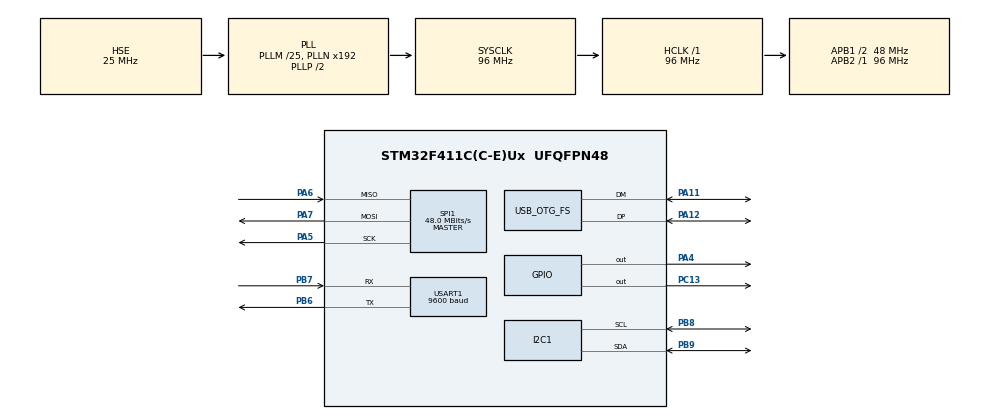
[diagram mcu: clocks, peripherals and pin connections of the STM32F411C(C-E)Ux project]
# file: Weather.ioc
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FATFS._MAX_SS=4096
FATFS._MIN_SS=4096
Mcu.Family=STM32F4
Mcu.Name=STM32F411C(C-E)Ux
Mcu.Package=UFQFPN48
NVIC.OTG_FS_IRQn=true\:0\:0\:false\:false\:true\:false\:true\:true
NVIC.PriorityGroup=NVIC_PRIORITYGROUP_4
PA11.Mode=Device_Only
PA11.Signal=USB_OTG_FS_DM
PA12.Mode=Device_Only
PA12.Signal=USB_OTG_FS_DP
PA4.Signal=GPIO_Output
PA5.Mode=Full_Duplex_Master
PA5.Signal=SPI1_SCK
PA6.Mode=Full_Duplex_Master
PA6.Signal=SPI1_MISO
PA7.Mode=Full_Duplex_Master
PA7.Signal=SPI1_MOSI
PB6.Mode=Asynchronous
PB6.Signal=USART1_TX
PB7.Mode=Asynchronous
PB7.Signal=USART1_RX
PB8.Mode=I2C
PB8.Signal=I2C1_SCL
PB9.Mode=I2C
PB9.Signal=I2C1_SDA
PC13-ANTI_TAMP.Signal=GPIO_Output
PC14-OSC32_IN.Mode=LSE-External-Oscillator
PC14-OSC32_IN.Signal=RCC_OSC32_IN
PC15-OSC32_OUT.Mode=LSE-External-Oscillator
PC15-OSC32_OUT.Signal=RCC_OSC32_OUT
PH0\ -\ OSC_IN.Mode=HSE-External-Oscillator
PH0\ -\ OSC_IN.Signal=RCC_OSC_IN
PH1\ -\ OSC_OUT.Mode=HSE-External-Oscillator
PH1\ -\ OSC_OUT.Signal=RCC_OSC_OUT
ProjectManager.HeapSize=0x2000
ProjectManager.StackSize=0x4000
ProjectManager.TargetToolchain=STM32CubeIDE
RCC.48MHZClocksFreq_Value=48000000
RCC.AHBFreq_Value=96000000
RCC.APB1CLKDivider=RCC_HCLK_DIV2
RCC.APB1Freq_Value=48000000
RCC.APB1TimFreq_Value=96000000
RCC.APB2Freq_Value=96000000
RCC.APB2TimFreq_Value=96000000
RCC.CortexFreq_Value=96000000
RCC.HCLKFreq_Value=96000000
RCC.HSE_VALUE=25000000
RCC.HSI_VALUE=16000000
RCC.PLLM=25
RCC.RCC_RTC_Clock_Source=RCC_RTCCLKSOURCE_LSE
RCC.RCC_RTC_Clock_SourceVirtual=RCC_RTCCLKSOURCE_LSE
RCC.SYSCLKFreq_VALUE=96000000
RCC.SYSCLKSource=RCC_SYSCLKSOURCE_PLLCLK
RCC.VCOOutputFreq_Value=192000000
SPI1.CalculateBaudRate=48.0 MBits/s
SPI1.Direction=SPI_DIRECTION_2LINES
SPI1.Mode=SPI_MODE_MASTER
SPI1.VirtualType=VM_MASTER
USART1.BaudRate=9600
USART1.VirtualMode=VM_ASYNC
USB_DEVICE.CLASS_NAME_FS=MSC
USB_DEVICE.MSC_MEDIA_PACKET=4096
USB_DEVICE.USBD_MAX_STR_DESC_SIZ=512
USB_DEVICE.VirtualMode=Msc
USB_DEVICE.VirtualModeFS=Msc_FS
USB_OTG_FS.VirtualMode=Device_Only
VP_FATFS_VS_Generic.Mode=User_defined
VP_RTC_VS_RTC_Activate.Mode=RTC_Enabled
VP_USB_DEVICE_VS_USB_DEVICE_MSC_FS.Mode=MSC_FS
board=custom

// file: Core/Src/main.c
/* USER CODE BEGIN Header */
/**
  ******************************************************************************
  * @file           : main.c
  * @brief          : Main program body
  ******************************************************************************
  * @attention
  *
  * Copyright (c) 2022 STMicroelectronics.
  * All rights reserved.
  *
  * This software is licensed under terms that can be found in the LICENSE file
  * in the root directory of this software component.
  * If no LICENSE file comes with this software, it is provided AS-IS.
  *
  ******************************************************************************
  */
/* USER CODE END Header */
#include "main.h"
#include "fatfs.h"
#include "usb_device.h"

/* USER CODE BEGIN Includes */
#include <stdbool.h>
#include "ssd1306.h"
/* USER CODE END Includes */

I2C_HandleTypeDef hi2c1;

RTC_HandleTypeDef hrtc;

SPI_HandleTypeDef hspi1;

UART_HandleTypeDef huart1;

/* USER CODE BEGIN PV */
bool isUSBMSC;
/* USER CODE END PV */

void SystemClock_Config(void);
static void MX_GPIO_Init(void);
static void MX_I2C1_Init(void);
static void MX_USART1_UART_Init(void);
static void MX_RTC_Init(void);
static void MX_SPI1_Init(void);
/* USER CODE BEGIN PFP */
void main_cpp(UART_HandleTypeDef *, I2C_HandleTypeDef *);
/* USER CODE END PFP */

int main(void)
{
  /* USER CODE BEGIN 1 */
    char time[30];
    char date[30];
    RTC_TimeTypeDef sTime;
    RTC_DateTypeDef sDate;
    isUSBMSC = false;
  /* USER CODE END 1 */

  /* MCU Configuration--------------------------------------------------------*/

  /* Reset of all peripherals, Initializes the Flash interface and the Systick. */
  HAL_Init();

  /* Configure the system clock */
  SystemClock_Config();

  /* Initialize all configured peripherals */
  MX_GPIO_Init();
  MX_I2C1_Init();
  MX_USART1_UART_Init();
  MX_FATFS_Init();
  MX_USB_DEVICE_Init();
  MX_RTC_Init();
  MX_SPI1_Init();
  /* USER CODE BEGIN 2 */
  uint32_t bytesread;
  char buffer[256];

  HAL_Delay(1000);
  if(!isUSBMSC){
	/*Initialize RTC*/
	while(f_mount(&USERFatFS, USERPath, 1) != FR_OK) {
		HAL_Delay(1000);
	}
	if(f_open(&USERFile, "SETTIME.TXT", FA_OPEN_EXISTING | FA_READ) == FR_OK) {
		retUSER = f_read(&USERFile, buffer, sizeof(buffer), (void *)&bytesread);
		buffer[bytesread]=0;
		//sscanf(buffer, "%02hhd-%02hhd-%02hhd %02hhd:%02hhd",
		//		&sDate.Year, &sDate.Month, &sDate.Date,
		//		&sTime.Hours, &sTime.Minutes);

		buffer[2]=0;  	sDate.Year = atoi(&buffer[0]);
		buffer[5]=0;		sDate.Month = atoi(&buffer[3]);
		buffer[8]=0;		sDate.Date = atoi(&buffer[6]);
		buffer[11]=0;		sTime.Hours = atoi(&buffer[9]);
		buffer[14]=0;		sTime.Minutes = atoi(&buffer[12]);

		sDate.WeekDay = RTC_WEEKDAY_SUNDAY;
		if (HAL_RTC_SetDate(&hrtc, &sDate, RTC_FORMAT_BIN) != HAL_OK)
		{
			Error_Handler();
		}

		sTime.Seconds = 0x0;
		sTime.DayLightSaving = RTC_DAYLIGHTSAVING_NONE;
		sTime.StoreOperation = RTC_STOREOPERATION_RESET;
		if (HAL_RTC_SetTime(&hrtc, &sTime, RTC_FORMAT_BIN) != HAL_OK)
		{
			Error_Handler();
		}

		f_close(&USERFile);
	}
	/*ここまで*/
	main_cpp(&huart1, &hi2c1); //この関数からは戻らない
  }
  ssd1306_Init();
  /* USER CODE END 2 */

  /* Infinite loop */
  while (1)
  {

    /* USER CODE BEGIN 3 */

      HAL_RTC_GetTime(&hrtc, &sTime, RTC_FORMAT_BIN);
      HAL_RTC_GetDate(&hrtc, &sDate, RTC_FORMAT_BIN);

      sprintf(date,"%04d-%02d-%02d",sDate.Year+2000,sDate.Month,sDate.Date);
      sprintf(time,"%02d:%02d",sTime.Hours,sTime.Minutes);

      ssd1306_Fill(Black);
      ssd1306_SetCursor(2, 0);
      ssd1306_WriteString((char*)date, Font_7x10, White);
      ssd1306_SetCursor(2, 11);
      ssd1306_WriteString((char*)time, Font_11x18, White);
      ssd1306_UpdateScreen();
      //HAL_UART_Transmit(&huart2, (uint8_t *)date, strlen(date), 300);
      //HAL_UART_Transmit(&huart2, (uint8_t *)time, strlen(time), 300);
      HAL_GPIO_TogglePin(GPIOC, GPIO_PIN_13);
      HAL_Delay(1000);
  }
  /* USER CODE END 3 */
}

void SystemClock_Config(void)
{
  RCC_OscInitTypeDef RCC_OscInitStruct = {0};
  RCC_ClkInitTypeDef RCC_ClkInitStruct = {0};

  /** Configure the main internal regulator output voltage
  */
  __HAL_RCC_PWR_CLK_ENABLE();
  __HAL_PWR_VOLTAGESCALING_CONFIG(PWR_REGULATOR_VOLTAGE_SCALE1);

  /** Initializes the RCC Oscillators according to the specified parameters
  * in the RCC_OscInitTypeDef structure.
  */
  RCC_OscInitStruct.OscillatorType = RCC_OSCILLATORTYPE_HSE|RCC_OSCILLATORTYPE_LSE;
  RCC_OscInitStruct.HSEState = RCC_HSE_ON;
  RCC_OscInitStruct.LSEState = RCC_LSE_ON;
  RCC_OscInitStruct.PLL.PLLState = RCC_PLL_ON;
  RCC_OscInitStruct.PLL.PLLSource = RCC_PLLSOURCE_HSE;
  RCC_OscInitStruct.PLL.PLLM = 25;
  RCC_OscInitStruct.PLL.PLLN = 192;
  RCC_OscInitStruct.PLL.PLLP = RCC_PLLP_DIV2;
  RCC_OscInitStruct.PLL.PLLQ = 4;
  if (HAL_RCC_OscConfig(&RCC_OscInitStruct) != HAL_OK)
  {
    Error_Handler();
  }

  /** Initializes the CPU, AHB and APB buses clocks
  */
  RCC_ClkInitStruct.ClockType = RCC_CLOCKTYPE_HCLK|RCC_CLOCKTYPE_SYSCLK
                              |RCC_CLOCKTYPE_PCLK1|RCC_CLOCKTYPE_PCLK2;
  RCC_ClkInitStruct.SYSCLKSource = RCC_SYSCLKSOURCE_PLLCLK;
  RCC_ClkInitStruct.AHBCLKDivider = RCC_SYSCLK_DIV1;
  RCC_ClkInitStruct.APB1CLKDivider = RCC_HCLK_DIV2;
  RCC_ClkInitStruct.APB2CLKDivider = RCC_HCLK_DIV1;

  if (HAL_RCC_ClockConfig(&RCC_ClkInitStruct, FLASH_LATENCY_3) != HAL_OK)
  {
    Error_Handler();
  }
}

static void MX_I2C1_Init(void)
{

  hi2c1.Instance = I2C1;
  hi2c1.Init.ClockSpeed = 100000;
  hi2c1.Init.DutyCycle = I2C_DUTYCYCLE_2;
  hi2c1.Init.OwnAddress1 = 0;
  hi2c1.Init.AddressingMode = I2C_ADDRESSINGMODE_7BIT;
  hi2c1.Init.DualAddressMode = I2C_DUALADDRESS_DISABLE;
  hi2c1.Init.OwnAddress2 = 0;
  hi2c1.Init.GeneralCallMode = I2C_GENERALCALL_DISABLE;
  hi2c1.Init.NoStretchMode = I2C_NOSTRETCH_DISABLE;
  if (HAL_I2C_Init(&hi2c1) != HAL_OK)
  {
    Error_Handler();
  }

}

static void MX_RTC_Init(void)
{

  /** Initialize RTC Only
  */
  hrtc.Instance = RTC;
  hrtc.Init.HourFormat = RTC_HOURFORMAT_24;
  hrtc.Init.AsynchPrediv = 127;
  hrtc.Init.SynchPrediv = 255;
  hrtc.Init.OutPut = RTC_OUTPUT_DISABLE;
  hrtc.Init.OutPutPolarity = RTC_OUTPUT_POLARITY_HIGH;
  hrtc.Init.OutPutType = RTC_OUTPUT_TYPE_OPENDRAIN;
  if (HAL_RTC_Init(&hrtc) != HAL_OK)
  {
    Error_Handler();
  }

}

static void MX_SPI1_Init(void)
{

  /* SPI1 parameter configuration*/
  hspi1.Instance = SPI1;
  hspi1.Init.Mode = SPI_MODE_MASTER;
  hspi1.Init.Direction = SPI_DIRECTION_2LINES;
  hspi1.Init.DataSize = SPI_DATASIZE_8BIT;
  hspi1.Init.CLKPolarity = SPI_POLARITY_LOW;
  hspi1.Init.CLKPhase = SPI_PHASE_1EDGE;
  hspi1.Init.NSS = SPI_NSS_SOFT;
  hspi1.Init.BaudRatePrescaler = SPI_BAUDRATEPRESCALER_2;
  hspi1.Init.FirstBit = SPI_FIRSTBIT_MSB;
  hspi1.Init.TIMode = SPI_TIMODE_DISABLE;
  hspi1.Init.CRCCalculation = SPI_CRCCALCULATION_DISABLE;
  hspi1.Init.CRCPolynomial = 10;
  if (HAL_SPI_Init(&hspi1) != HAL_OK)
  {
    Error_Handler();
  }

}

static void MX_USART1_UART_Init(void)
{

  huart1.Instance = USART1;
  huart1.Init.BaudRate = 9600;
  huart1.Init.WordLength = UART_WORDLENGTH_8B;
  huart1.Init.StopBits = UART_STOPBITS_1;
  huart1.Init.Parity = UART_PARITY_NONE;
  huart1.Init.Mode = UART_MODE_TX_RX;
  huart1.Init.HwFlowCtl = UART_HWCONTROL_NONE;
  huart1.Init.OverSampling = UART_OVERSAMPLING_16;
  if (HAL_UART_Init(&huart1) != HAL_OK)
  {
    Error_Handler();
  }

}

static void MX_GPIO_Init(void)
{
  GPIO_InitTypeDef GPIO_InitStruct = {0};

  /* GPIO Ports Clock Enable */
  __HAL_RCC_GPIOC_CLK_ENABLE();
  __HAL_RCC_GPIOH_CLK_ENABLE();
  __HAL_RCC_GPIOA_CLK_ENABLE();
  __HAL_RCC_GPIOB_CLK_ENABLE();

  /*Configure GPIO pin Output Level */
  HAL_GPIO_WritePin(GPIOC, GPIO_PIN_13, GPIO_PIN_RESET);

  /*Configure GPIO pin Output Level */
  HAL_GPIO_WritePin(GPIOA, GPIO_PIN_4, GPIO_PIN_RESET);

  /*Configure GPIO pin : PC13 */
  GPIO_InitStruct.Pin = GPIO_PIN_13;
  GPIO_InitStruct.Mode = GPIO_MODE_OUTPUT_PP;
  GPIO_InitStruct.Pull = GPIO_NOPULL;
  GPIO_InitStruct.Speed = GPIO_SPEED_FREQ_LOW;
  HAL_GPIO_Init(GPIOC, &GPIO_InitStruct);

  /*Configure GPIO pin : PA4 */
  GPIO_InitStruct.Pin = GPIO_PIN_4;
  GPIO_InitStruct.Mode = GPIO_MODE_OUTPUT_PP;
  GPIO_InitStruct.Pull = GPIO_NOPULL;
  GPIO_InitStruct.Speed = GPIO_SPEED_FREQ_LOW;
  HAL_GPIO_Init(GPIOA, &GPIO_InitStruct);

}

void Error_Handler(void)
{
  __disable_irq();
  while (1)
  {
  }
}
